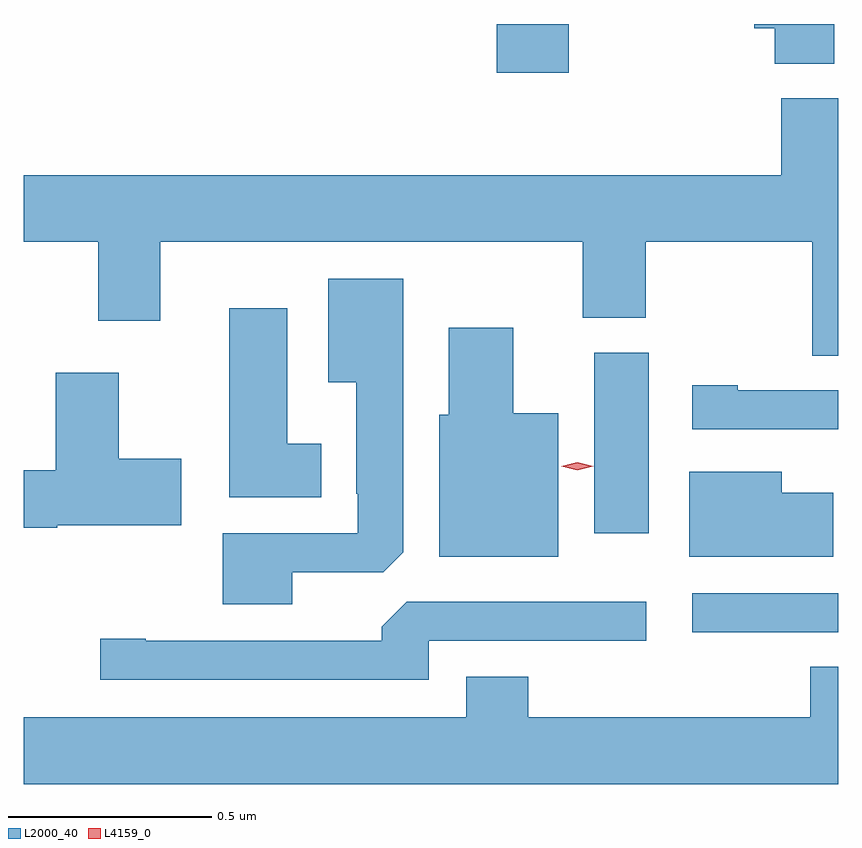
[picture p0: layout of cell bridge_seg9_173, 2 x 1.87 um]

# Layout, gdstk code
import gdstk
lib = gdstk.Library(unit=1e-6, precision=1e-09)
def R(c, l, rs):  # rectangles x0, y0, x1, y1
    for r in rs: c.add(gdstk.rectangle(r[:2], r[2:], *l))
def P(c, l, *ps):  # polygons
    for p in ps: c.add(gdstk.Polygon(p, *l))
L2000_40 = (2000, 40)
L4159_0 = (4159, 0)

bridge_seg9_173 = lib.new_cell('bridge_seg9_173')
R(bridge_seg9_173, L2000_40, [(186.681,1235.421,187.039,1235.517), (186.44,1235.664,186.574,1236.108), (186.2,1236.795,186.378,1236.915)])
P(bridge_seg9_173, L2000_40, [(187.03,1236.915),(186.833,1236.915),(186.833,1236.905),(186.884,1236.905),(186.884,1236.817),(187.03,1236.817)],
  [(187.039,1236.732),(186.899,1236.732),(186.899,1236.544),(185.039,1236.544),(185.039,1236.38),(185.222,1236.38),(185.222,1236.186),(185.374,1236.186),(185.374,1236.38),(186.412,1236.38),(186.412,1236.193),(186.567,1236.193),(186.567,1236.38),(186.976,1236.38),(186.976,1236.1),(187.039,1236.1)],
  [(185.698,1235.568),(185.922,1235.568),(185.971,1235.617),(185.971,1236.289),(185.786,1236.289),(185.786,1236.035),(185.855,1236.035),(185.855,1235.761),(185.859,1235.761),(185.859,1235.664),(185.528,1235.664),(185.528,1235.489),(185.698,1235.489)],
  [(185.77,1235.884),(185.686,1235.884),(185.686,1236.217),(185.543,1236.217),(185.543,1235.753),(185.77,1235.753)],
  [(186.352,1235.959),(186.241,1235.959),(186.241,1236.169),(186.083,1236.169),(186.083,1235.955),(186.059,1235.955),(186.059,1235.606),(186.352,1235.606)],
  [(185.121,1235.684),(185.425,1235.684),(185.425,1235.847),(185.272,1235.847),(185.272,1236.058),(185.117,1236.058),(185.117,1235.819),(185.039,1235.819),(185.039,1235.677),(185.121,1235.677)],
  [(187.039,1236.015),(186.793,1236.015),(186.793,1236.028),(186.681,1236.028),(186.681,1235.919),(187.039,1235.919)],
  [(187.027,1235.764),(186.901,1235.764),(186.901,1235.815),(186.674,1235.815),(186.674,1235.606),(187.027,1235.606)],
  [(186.033,1235.4),(186.568,1235.4),(186.568,1235.496),(185.979,1235.496),(185.918,1235.434),(185.918,1235.4),(185.338,1235.4),(185.338,1235.405),(185.226,1235.405),(185.226,1235.304),(186.033,1235.304)],
  [(187.039,1235.336),(186.971,1235.336),(186.971,1235.212),(186.278,1235.212),(186.278,1235.311),(186.125,1235.311),(186.125,1235.212),(185.039,1235.212),(185.039,1235.048),(187.039,1235.048)])
P(bridge_seg9_173, L4159_0, [(186.398,1235.819),(186.359,1235.829),(186.358,1235.829),(186.359,1235.829),(186.398,1235.839),(186.438,1235.829),(186.438,1235.829),(186.438,1235.828)])

lib.write_gds('bridge_seg9_173.gds')
